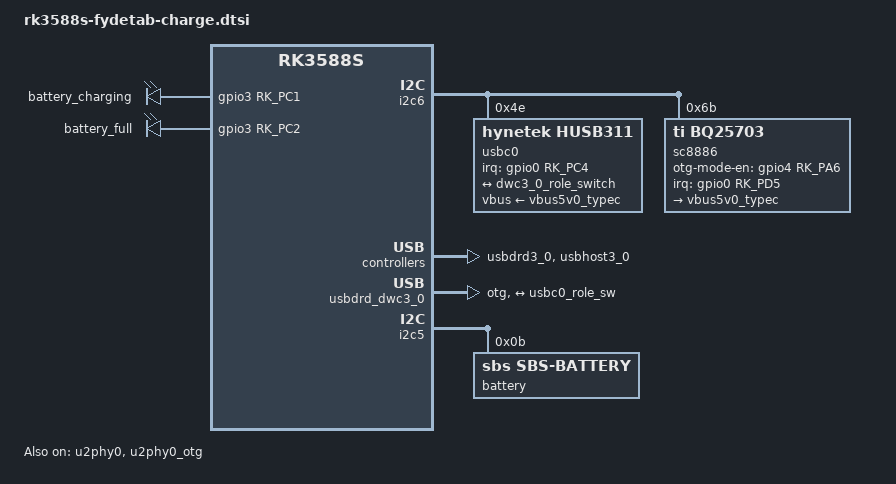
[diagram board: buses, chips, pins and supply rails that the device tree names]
// Copyright 2024 The FydeOS Authors. All rights reserved.
// Use of this source code is governed by a BSD-style license that can be
// found in the LICENSE file.
// Author: Yang Tsao<yang@fydeos.io>
#include "rk3588s-12c-rk806-single.dtsi"
#include <dt-bindings/usb/pd.h>

/ {
	leds {
    compatible = "gpio-leds";

    red_led: led-0 {
      default-state = "off";
      gpios = <&gpio3 RK_PC1 GPIO_ACTIVE_HIGH>;
      label = "battery_charging";
    };

    green_led: led-1 {
      default-state = "on";
      gpios = <&gpio3 RK_PC2 GPIO_ACTIVE_HIGH>;
      label = "battery_full";
    };

  };

	charge-animation {
		compatible = "rockchip,uboot-charge";
		rockchip,uboot-charge-on = <1>;
		rockchip,uboot-exit-charge-auto = <1>;
		rockchip,uboot-exit-charge-level = <8>;
		rockchip,uboot-low-power-voltage = <10825>;
		rockchip,screen-on-voltage = <10837>;
	};

};

&i2c6 {
	status = "okay";
	pinctrl-names = "default";
	pinctrl-0 = <&i2c6m3_xfer>;

	usbc0: husb311@4e {
    compatible = "hynetek,husb311";
    reg = <0x4e>;
    interrupt-parent = <&gpio0>;
    interrupts = <RK_PC4 IRQ_TYPE_LEVEL_LOW>;
    pinctrl-names = "default";
    pinctrl-0 = <&usbc0_int>;
    vbus-supply = <&vbus5v0_typec>;
    status = "okay";

    ports {
      #address-cells = <1>;
      #size-cells = <0>;

      port@0 {
        reg = <0>;
        usbc0_role_sw: endpoint@0 {
          remote-endpoint = <&dwc3_0_role_switch>;
        };
      };
    };

    usb_con: connector {
      compatible = "usb-c-connector";
      label = "USB-C";
      data-role = "dual";
      power-role = "dual";
      try-power-role = "sink";
      op-sink-microwatt = <1000000>;
            sink-pdos =
                <PDO_FIXED(5000, 3000, PDO_FIXED_USB_COMM)
          PDO_FIXED(9000, 3000, PDO_FIXED_USB_COMM)
          PDO_FIXED(20000, 2500, PDO_FIXED_USB_COMM)>;
            source-pdos =
                <PDO_FIXED(5000, 3000, PDO_FIXED_USB_COMM)>;

      altmodes {
        #address-cells = <1>;
        #size-cells = <0>;

        altmode@0 {
          reg = <0>;
          svid = <0xff01>;
          vdo = <0xffffffff>;
        };
      };

    };
  };

	sc8886: sc8886@6b {
    status = "okay";
    compatible = "ti,bq25703";
    reg = <0x6b>;
    ti,usb-charger-detection = <&usbc0>;

    interrupt-parent = <&gpio0>;
    interrupts = <RK_PD5 IRQ_TYPE_LEVEL_LOW>;
    otg-mode-en-gpios = <&gpio4 RK_PA6 GPIO_ACTIVE_HIGH>;
    pinctrl-names = "default";
    pinctrl-0 = <&charger_ok>;
    extcon = <&usbc0>;
    ti,charge-current = <2500000>;
    ti,max-input-voltage = <20000000>;
    ti,max-input-current = <5000000>;
    ti,max-charge-voltage = <13200000>;
    ti,input-current = <3000000>;
    ti,input-current-sdp = <3000000>;
    ti,input-current-dcp = <3000000>;
    ti,input-current-cdp = <3000000>;
    ti,minimum-sys-voltage = <9216000>;
    ti,otg-voltage = <5000000>;
    ti,otg-current = <3000000>;
    pd-charge-only = <0>;
    regulators {
        vbus5v0_typec: vbus5v0-typec {
        regulator-compatible = "otg-vbus";
        regulator-name = "vbus5v0_typec";
    		};
    };
  };
};

&u2phy0 {
  status = "okay";
};

&u2phy0_otg {
  status = "okay";
  rockchip,typec-vbus-det;
};

&usbdrd3_0 {
  status = "okay";
};

&usbdrd_dwc3_0 {
  status = "okay";
  dr_mode = "otg";
  usb-role-switch;
  port {
    #address-cells = <1>;
    #size-cells = <0>;
    dwc3_0_role_switch: endpoint@0 {
      reg = <0>;
      remote-endpoint = <&usbc0_role_sw>;
    };
  };
};

&usbhost_dwc3_0 {
  status = "disabled";
};

&usbhost3_0 {
  status = "okay";
};

&i2c5 {
  status = "okay";
  pinctrl-names = "default";
  pinctrl-0 = <&i2c5m3_xfer>;
  battery: sbs-battery@b {
    status = "okay";
    compatible = "sbs,sbs-battery";
    reg = <0x0b>;
    sbs,i2c-retry-count = <100>;
  };
};

&pinctrl {
  charger {
    charger_ok: charger_ok {
      rockchip,pins = <0 RK_PD5 RK_FUNC_GPIO &pcfg_pull_up>,
                      <4 RK_PA6 RK_FUNC_GPIO &pcfg_pull_none>;
    };
  };

	usb-typec {
    usbc0_int: usbc0-int {
      rockchip,pins = <0 RK_PC4 RK_FUNC_GPIO &pcfg_pull_up>;
    };
	};
};
